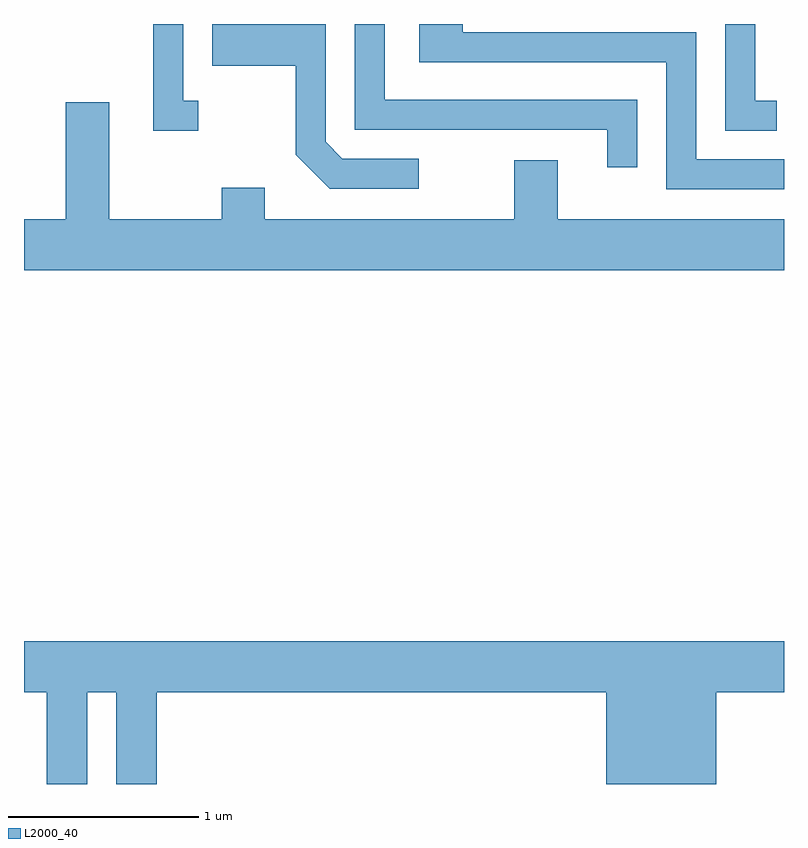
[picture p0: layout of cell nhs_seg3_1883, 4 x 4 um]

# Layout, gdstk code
import gdstk
lib = gdstk.Library(unit=1e-6, precision=1e-09)
def P(c, l, *ps):  # polygons
    for p in ps: c.add(gdstk.Polygon(p, *l))
L2000_40 = (2000, 40)

nhs_seg3_1883 = lib.new_cell('nhs_seg3_1883')
P(nhs_seg3_1883, L2000_40, [(242.839,1213.494),(241.509,1213.494),(241.509,1213.892),(241.351,1213.892),(241.351,1213.336),(242.681,1213.336),(242.681,1213.138),(242.839,1213.138)],
  [(243.611,1213.179),(243.149,1213.179),(243.149,1213.849),(241.919,1213.849),(241.919,1213.892),(241.691,1213.892),(241.691,1213.691),(242.991,1213.691),(242.991,1213.021),(243.611,1213.021)],
  [(243.573,1213.489),(243.459,1213.489),(243.459,1213.892),(243.301,1213.892),(243.301,1213.331),(243.573,1213.331)],
  [(240.528,1213.489),(240.449,1213.489),(240.449,1213.892),(240.291,1213.892),(240.291,1213.331),(240.528,1213.331)],
  [(241.688,1213.184),(241.287,1213.184),(241.199,1213.272),(241.199,1213.892),(240.601,1213.892),(240.601,1213.671),(241.041,1213.671),(241.041,1213.204),(241.219,1213.026),(241.688,1213.026)],
  [(243.611,1212.864),(242.419,1212.864),(242.419,1213.174),(242.191,1213.174),(242.191,1212.864),(240.879,1212.864),(240.879,1213.029),(240.651,1213.029),(240.651,1212.864),(240.059,1212.864),(240.059,1213.479),(239.831,1213.479),(239.831,1212.864),(239.611,1212.864),(239.611,1212.596),(243.611,1212.596)],
  [(239.944,1210.376),(240.096,1210.376),(240.096,1209.892),(240.309,1209.892),(240.309,1210.376),(242.676,1210.376),(242.676,1209.892),(243.254,1209.892),(243.254,1210.376),(243.611,1210.376),(243.611,1210.644),(239.611,1210.644),(239.611,1210.376),(239.731,1210.376),(239.731,1209.892),(239.944,1209.892)])

lib.write_gds('nhs_seg3_1883.gds')
